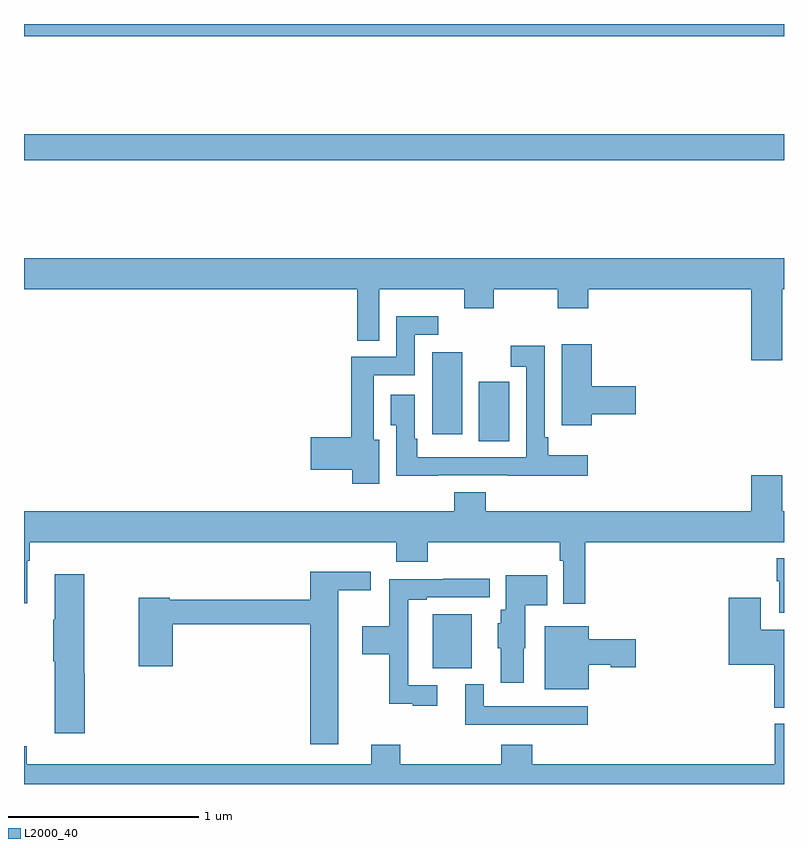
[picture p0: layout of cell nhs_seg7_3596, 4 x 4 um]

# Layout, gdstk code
import gdstk
lib = gdstk.Library(unit=1e-6, precision=1e-09)
def R(c, l, rs):  # rectangles x0, y0, x1, y1
    for r in rs: c.add(gdstk.rectangle(r[:2], r[2:], *l))
def P(c, l, *ps):  # polygons
    for p in ps: c.add(gdstk.Polygon(p, *l))
L2000_40 = (2000, 40)

nhs_seg7_3596 = lib.new_cell('nhs_seg7_3596')
R(nhs_seg7_3596, L2000_40, [(343.151,1010.609,343.357,1010.893), (343.394,1011.805,343.555,1012.116), (343.148,1011.84,343.306,1012.273), (341,1013.284,345,1013.42), (341,1013.936,345,1014)])
P(nhs_seg7_3596, L2000_40, [(344.992,1012.604),(345,1012.604),(345,1012.768),(341,1012.768),(341,1012.604),(342.753,1012.604),(342.753,1012.333),(342.871,1012.333),(342.871,1012.604),(343.318,1012.604),(343.318,1012.505),(343.473,1012.505),(343.473,1012.604),(343.81,1012.604),(343.81,1012.505),(343.97,1012.505),(343.97,1012.604),(344.828,1012.604),(344.828,1012.23),(344.992,1012.23)],
  [(342.871,1011.811),(342.841,1011.811),(342.841,1012.152),(343.056,1012.152),(343.056,1012.365),(343.18,1012.365),(343.18,1012.462),(342.96,1012.462),(342.96,1012.248),(342.723,1012.248),(342.723,1011.824),(342.51,1011.824),(342.51,1011.653),(342.728,1011.653),(342.728,1011.579),(342.871,1011.579)],
  [(343.988,1011.947),(344.221,1011.947),(344.221,1012.094),(343.988,1012.094),(343.988,1012.315),(343.829,1012.315),(343.829,1011.888),(343.988,1011.888)],
  [(343.181,1011.624),(343.547,1011.624),(343.547,1011.623),(343.966,1011.623),(343.966,1011.73),(343.76,1011.73),(343.76,1011.826),(343.74,1011.826),(343.74,1012.306),(343.563,1012.306),(343.563,1012.197),(343.644,1012.197),(343.644,1011.72),(343.069,1011.72),(343.069,1011.817),(343.056,1011.817),(343.056,1012.048),(342.929,1012.048),(342.929,1011.889),(342.96,1011.889),(342.96,1011.623),(343.181,1011.623)],
  [(343.955,1011.272),(345,1011.272),(345,1011.436),(344.992,1011.436),(344.992,1011.625),(344.828,1011.625),(344.828,1011.436),(343.43,1011.436),(343.43,1011.535),(343.265,1011.535),(343.265,1011.436),(341,1011.436),(341,1010.952),(341.017,1010.952),(341.017,1011.176),(341.03,1011.176),(341.03,1011.272),(342.959,1011.272),(342.959,1011.17),(343.124,1011.17),(343.124,1011.272),(343.819,1011.272),(343.819,1011.176),(343.839,1011.176),(343.839,1010.949),(343.955,1010.949)],
  [(345,1011.187),(344.963,1011.187),(344.963,1011.067),(344.975,1011.067),(344.975,1010.901),(345,1010.901)],
  [(342.655,1011.02),(342.826,1011.02),(342.826,1011.118),(342.506,1011.118),(342.506,1010.971),(341.766,1010.971),(341.766,1010.979),(341.605,1010.979),(341.605,1010.619),(341.783,1010.619),(341.783,1010.842),(342.506,1010.842),(342.506,1010.208),(342.655,1010.208)],
  [(341.321,1010.58),(341.316,1010.58),(341.316,1011.103),(341.162,1011.103),(341.162,1010.864),(341.155,1010.864),(341.155,1010.647),(341.162,1010.647),(341.162,1010.268),(341.321,1010.268)],
  [(343.63,1010.715),(343.639,1010.715),(343.639,1010.942),(343.754,1010.942),(343.754,1011.1),(343.535,1011.1),(343.535,1010.916),(343.508,1010.916),(343.508,1010.847),(343.493,1010.847),(343.493,1010.715),(343.508,1010.715),(343.508,1010.532),(343.63,1010.532)],
  [(343.174,1010.52),(343.023,1010.52),(343.023,1010.97),(343.12,1010.97),(343.12,1010.982),(343.45,1010.982),(343.45,1011.08),(343.207,1011.08),(343.207,1011.078),(342.922,1011.078),(342.922,1010.83),(342.78,1010.83),(342.78,1010.683),(342.922,1010.683),(342.922,1010.423),(343.046,1010.423),(343.046,1010.412),(343.174,1010.412)],
  [(345,1010.812),(344.878,1010.812),(344.878,1010.98),(344.708,1010.98),(344.708,1010.627),(344.948,1010.627),(344.948,1010.401),(345,1010.401)],
  [(343.972,1010.627),(344.088,1010.627),(344.088,1010.615),(344.221,1010.615),(344.221,1010.762),(343.972,1010.762),(343.972,1010.83),(343.742,1010.83),(343.742,1010.498),(343.972,1010.498)],
  [(343.966,1010.409),(343.419,1010.409),(343.419,1010.524),(343.322,1010.524),(343.322,1010.313),(343.966,1010.313)],
  [(345,1010.316),(344.951,1010.316),(344.951,1010.104),(343.676,1010.104),(343.676,1010.206),(343.511,1010.206),(343.511,1010.104),(342.98,1010.104),(342.98,1010.206),(342.827,1010.206),(342.827,1010.104),(341.015,1010.104),(341.015,1010.2),(341,1010.2),(341,1010),(345,1010)])

lib.write_gds('nhs_seg7_3596.gds')
